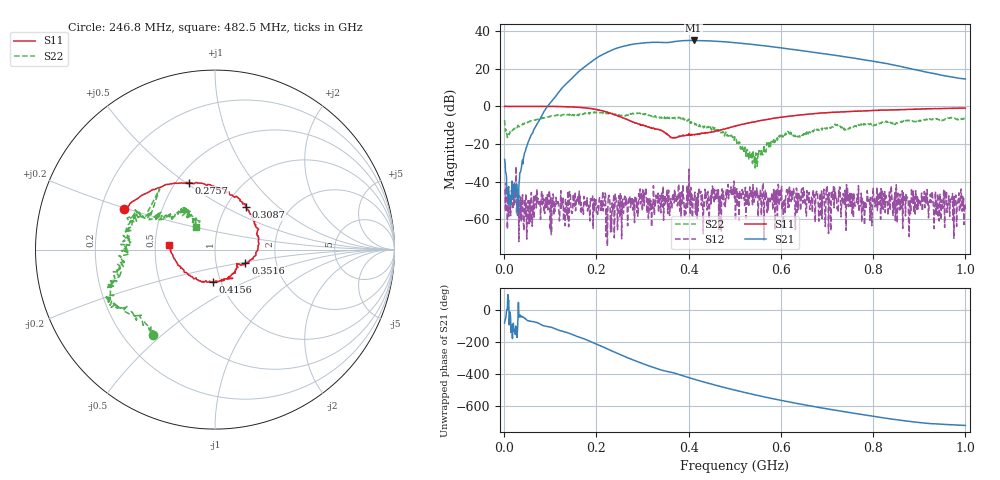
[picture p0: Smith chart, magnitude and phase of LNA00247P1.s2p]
! Created with skrf 1.9.0 (http://scikit-rf.org).
# Hz S RI R 50.0
!freq ReS11 ImS11 ReS21 ImS21 ReS12 ImS12 ReS22 ImS22
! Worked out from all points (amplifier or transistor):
!   1001 points, 1 MHz to 1 GHz, reference 50 ohm
!   highest |S21| = 35.0 dB at 410.6 MHz (marker M1)
!   |S21| within 3 dB of that: 260.3 MHz to 569.3 MHz (309 MHz wide, 74.5 % of centre)
!   unconditionally stable (mu >= 1): 3.72 MHz to 90.85 MHz; 214 MHz to 294.5 MHz; 401 MHz to end of sweep (the widest 3 of 24)
!   at 166.8 MHz: K = 2.15, MAG = 29.2 dB, |S12| = -51.1 dB
!   at 500.5 MHz: K = 1.44, MAG = 34.3 dB, |S12| = -42.6 dB
!   at 1 GHz: K = 7.41, MAG = 22.8 dB, |S12| = -54.5 dB
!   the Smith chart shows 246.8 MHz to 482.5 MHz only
!   S11 on the Smith chart (normalised r, x): 246.8 MHz: 0.30, +0.19; 275.7 MHz: 0.58, +0.51; 308.7 MHz: 1.23, +0.64; 351.6 MHz: 1.39, -0.21; 415.6 MHz: 0.92, -0.34; 482.5 MHz: 0.59, +0.03
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1000000  0.9898 0.00122  0.00434 -0.0389  0.00547 -0.00291  0.3446 0.2614
1.08892e8  0.5058 -0.8528  -0.7732 -1.494  0.00116 -0.00259  0.4223 -0.3663
1.67833e8  -0.2595 -0.8913  -9.662 -0.6526  0.00107 0.00107  0.0481 -0.6223
2.11789e8  -0.6963 -0.3238  -15.14 17.41  -0.00105 -0.00144  -0.1898 -0.6476
2.46754e8  -0.5065 0.2242  2.344 35.61  -0.001 -0.00132  -0.3444 -0.4751
2.75725e8  -0.1457 0.3732  27.56 33.92  -0.00344 0.000164  -0.5433 -0.3168
3.08692e8  0.1706 0.238  47.27 12.51  -0.00329 0.000673  -0.5653 -0.1828
3.34666e8  0.2404 0.0227  49.08 -9.135  -0.00139 0.000654  -0.5268 -0.0371
3.51649e8  0.1691 -0.072  44.97 -20.06  0.000815 -0.00292  -0.5118 0.0783
3.77623e8  0.1253 -0.093  39.79 -36.38  -0.00545 0.00493  -0.4824 0.1636
4.1059e8  0.0177 -0.1783  17.15 -53.23  0.000169 0.00319  -0.2968 0.1865
4.15585e8  -0.01 -0.1802  13.61 -54.06  0.00251 0.00162  -0.2728 0.1929
4.45555e8  -0.1506 -0.1367  -9.526 -53.39  0.00272 0.00104  -0.1635 0.2173
4.82518e8  -0.2581 0.0259  -31.3 -40.06  0.0035 0.00149  -0.105 0.1281
5.005e8  -0.2652 0.1295  -38.08 -30.72  0.00519 -0.00526  -0.1009 0.101
5.4046e8  -0.1927 0.3302  -42.51 -9.083  0.00332 -0.00306  -0.0333 0.0332
5.88412e8  0.0113 0.4896  -35.35 11.4  0.0044 -0.00361  -0.0996 -0.0808
6.28372e8  0.2021 0.5299  -24.4 20.57  0.00191 -0.00463  -0.122 -0.1029
6.67333e8  0.3891 0.4966  -13.28 23.9  0.00304 0.00136  -0.1978 -0.0442
7.53247e8  0.672 0.2922  4.164 18.9  -0.00131 -0.00364  -0.2704 0.0111
8.34166e8  0.7984 0.0361  9.888 8.841  -0.00183 0.00163  -0.3747 0.0316
1e9  0.7409 -0.5078  5.313 -0.0203  -0.0013 0.00135  -0.2768 0.355
